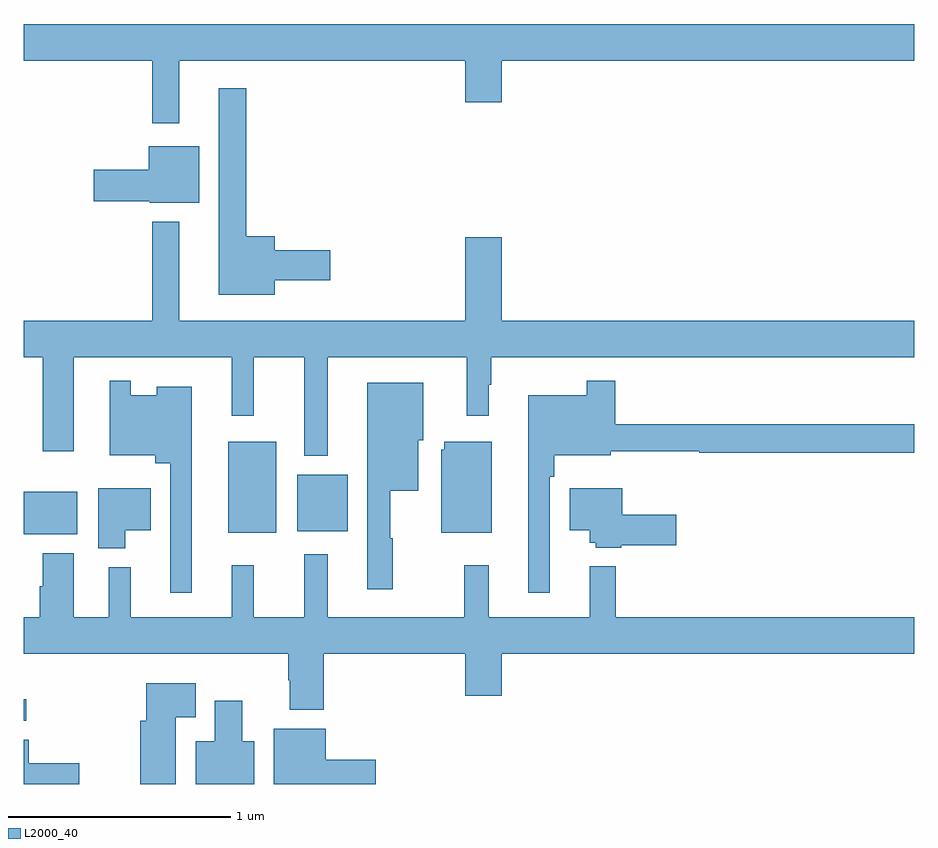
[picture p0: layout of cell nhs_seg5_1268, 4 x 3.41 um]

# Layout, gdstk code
import gdstk
lib = gdstk.Library(unit=1e-6, precision=1e-09)
def R(c, l, rs):  # rectangles x0, y0, x1, y1
    for r in rs: c.add(gdstk.rectangle(r[:2], r[2:], *l))
def P(c, l, *ps):  # polygons
    for p in ps: c.add(gdstk.Polygon(p, *l))
L2000_40 = (2000, 40)

nhs_seg5_1268 = lib.new_cell('nhs_seg5_1268')
R(nhs_seg5_1268, L2000_40, [(187,899.082,187.012,899.18), (187,899.921,187.24,900.112), (187.919,899.927,188.134,900.337), (188.228,899.933,188.455,900.187)])
P(nhs_seg5_1268, L2000_40, [(187.699,902.048),(188.984,902.048),(188.984,901.86),(189.148,901.86),(189.148,902.048),(191,902.048),(191,902.212),(187,902.212),(187,902.048),(187.578,902.048),(187.578,901.767),(187.699,901.767)],
  [(188.128,901.061),(188.377,901.061),(188.377,901.196),(188.128,901.196),(188.128,901.258),(187.999,901.258),(187.999,901.924),(187.877,901.924),(187.877,900.995),(188.128,900.995)],
  [(187.789,901.663),(187.562,901.663),(187.562,901.557),(187.314,901.557),(187.314,901.415),(187.566,901.415),(187.566,901.409),(187.789,901.409)],
  [(187,900.716),(187.085,900.716),(187.085,900.294),(187.225,900.294),(187.225,900.716),(187.934,900.716),(187.934,900.453),(188.034,900.453),(188.034,900.716),(188.261,900.716),(188.261,900.272),(188.365,900.272),(188.365,900.716),(188.99,900.716),(188.99,900.453),(189.088,900.453),(189.088,900.593),(189.1,900.593),(189.1,900.716),(191,900.716),(191,900.88),(189.148,900.88),(189.148,901.255),(188.984,901.255),(188.984,900.88),(187.699,900.88),(187.699,901.324),(187.578,901.324),(187.578,900.88),(187,900.88)],
  [(187.756,900.583),(187.598,900.583),(187.598,900.544),(187.482,900.544),(187.482,900.61),(187.386,900.61),(187.386,900.275),(187.591,900.275),(187.591,900.239),(187.659,900.239),(187.659,899.658),(187.756,899.658)],
  [(189.363,900.179),(189.383,900.179),(189.383,900.275),(189.637,900.275),(189.637,900.294),(190.033,900.294),(190.033,900.286),(191,900.286),(191,900.415),(189.656,900.415),(189.656,900.61),(189.528,900.61),(189.528,900.544),(189.266,900.544),(189.266,899.658),(189.363,899.658)],
  [(188.657,899.903),(188.647,899.903),(188.647,900.116),(188.773,900.116),(188.773,900.342),(188.794,900.342),(188.794,900.601),(188.543,900.601),(188.543,899.673),(188.657,899.673)],
  [(189.103,900.337),(188.888,900.337),(188.888,900.3),(188.876,900.3),(188.876,899.927),(189.103,899.927)],
  [(187.456,899.939),(187.57,899.939),(187.57,900.127),(187.334,900.127),(187.334,899.858),(187.456,899.858)],
  [(189.684,899.872),(189.931,899.872),(189.931,900.009),(189.688,900.009),(189.688,900.127),(189.452,900.127),(189.452,899.939),(189.542,899.939),(189.542,899.883),(189.57,899.883),(189.57,899.861),(189.684,899.861)],
  [(188.348,899.384),(188.984,899.384),(188.984,899.196),(189.148,899.196),(189.148,899.384),(191,899.384),(191,899.548),(189.659,899.548),(189.659,899.776),(189.542,899.776),(189.542,899.548),(189.089,899.548),(189.089,899.782),(188.979,899.782),(188.979,899.548),(188.365,899.548),(188.365,899.83),(188.261,899.83),(188.261,899.548),(188.034,899.548),(188.034,899.782),(187.934,899.782),(187.934,899.548),(187.481,899.548),(187.481,899.773),(187.382,899.773),(187.382,899.548),(187.225,899.548),(187.225,899.836),(187.085,899.836),(187.085,899.687),(187.073,899.687),(187.073,899.548),(187,899.548),(187,899.384),(188.188,899.384),(188.188,899.264),(188.195,899.264),(188.195,899.132),(188.348,899.132)],
  [(187.684,899.099),(187.774,899.099),(187.774,899.251),(187.55,899.251),(187.55,899.083),(187.523,899.083),(187.523,898.799),(187.684,898.799)],
  [(188.035,898.99),(187.981,898.99),(187.981,899.173),(187.859,899.173),(187.859,898.99),(187.772,898.99),(187.772,898.799),(188.035,898.799)],
  [(188.581,898.908),(188.356,898.908),(188.356,899.047),(188.123,899.047),(188.123,898.799),(188.581,898.799)],
  [(187.249,898.892),(187.024,898.892),(187.024,898.997),(187,898.997),(187,898.799),(187.249,898.799)])

lib.write_gds('nhs_seg5_1268.gds')
